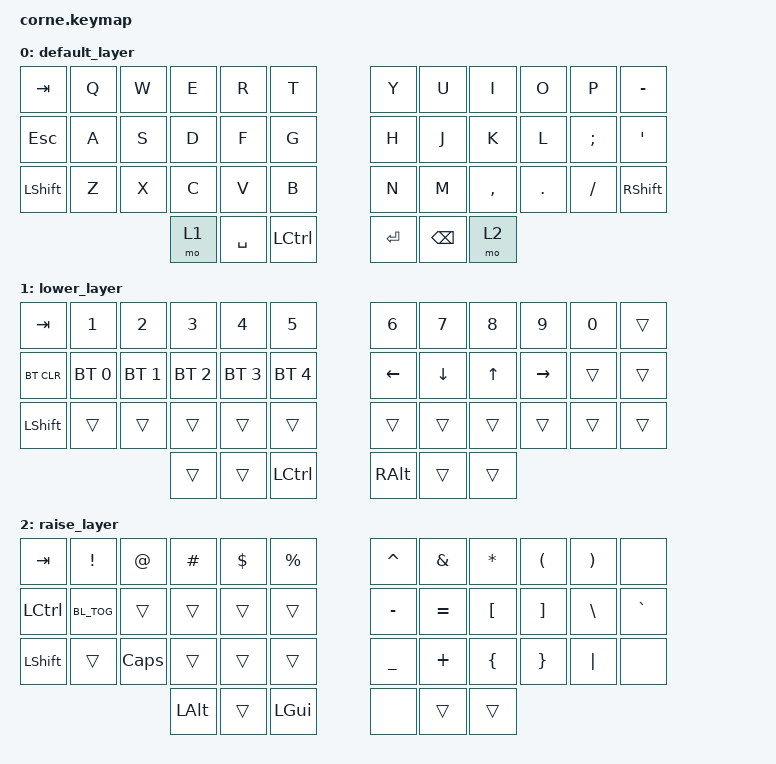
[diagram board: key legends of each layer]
/*
 * Copyright (c) 2020 The ZMK Contributors
 *
 * SPDX-License-Identifier: MIT
 */

#include <behaviors.dtsi>
#include <dt-bindings/zmk/keys.h>
#include <dt-bindings/zmk/bt.h>
#include <dt-bindings/zmk/backlight.h>

/ {
        keymap {
                compatible = "zmk,keymap";

                default_layer {
// -----------------------------------------------------------------------------------------
// |  TAB |  Q  |  W  |  E  |  R  |  T  |   |  Y  |  U   |  I  |  O  |  P  | BSPC |
// | CTRL |  A  |  S  |  D  |  F  |  G  |   |  H  |  J   |  K  |  L  |  ;  |  '   |
// | SHFT |  Z  |  X  |  C  |  V  |  B  |   |  N  |  M   |  ,  |  .  |  /  | ESC  |
//                    | GUI | LWR | SPC |   | ENT | RSE  | ALT |
                        bindings = <
   &kp TAB   &kp Q &kp W &kp E &kp R &kp T   &kp Y &kp U  &kp I     &kp O   &kp P    &kp MINUS
   &kp ESC &kp A &kp S &kp D &kp F &kp G   &kp H &kp J  &kp K     &kp L   &kp SEMI &kp SQT
   &kp LSHFT &kp Z &kp X &kp C &kp V &kp B   &kp N &kp M  &kp COMMA &kp DOT &kp FSLH &kp RSHFT
                  &mo 1 &kp SPACE &kp LCTRL   &kp RET &kp BSPC &mo 2
                        >;
                };
                lower_layer {
// -----------------------------------------------------------------------------------------
// |  TAB |  1  |  2  |  3  |  4  |  5  |   |  6  |  7  |  8  |  9  |  0  | BSPC |
// | BTCLR| BT1 | BT2 | BT3 | BT4 | BT5 |   | LFT | DWN |  UP | RGT |     |      |
// | SHFT |     |     |     |     |     |   |     |     |     |     |     |      |
//                    | GUI |     | SPC |   | ENT |     | ALT |
                        bindings = <
   &kp TAB    &kp N1       &kp N2       &kp N3       &kp N4       &kp N5         &kp N6   &kp N7   &kp N8 &kp N9    &kp N0 &trans
   &bt BT_CLR &bt BT_SEL 0 &bt BT_SEL 1 &bt BT_SEL 2 &bt BT_SEL 3 &bt BT_SEL 4   &kp LEFT &kp DOWN &kp UP &kp RIGHT &trans &trans
   &kp LSHFT  &trans       &trans       &trans       &trans       &trans         &trans   &trans   &trans &trans    &trans &trans
                                    &trans     &trans       &kp LCTRL      &kp RALT  &trans   &trans
                        >;
                };

                raise_layer {
// -----------------------------------------------------------------------------------------
// |  ~ |  !  |  @  |  #  |  $  |  %  |   |  ^  |  &  |  *  |  (  |  )  | BSPC |
// | CTRL |     |     |     |     |     |   |  -  |  =  |  [  |  ]  |  \  |  `   |
// | SHFT |     |     |     |     |     |   |  _  |  +  |  {  |  }  | "|" |  ~   |
//                    | GUI |     | SPC |   | ENT |     | ALT |
                        bindings = <
   &kp  TAB  &kp EXCL &kp AT &kp HASH &kp DLLR &kp PRCNT   &kp CARET &kp AMPS  &kp ASTRK &kp LPAR &kp RPAR &none
   &kp LCTRL &kp BL_TOG   &trans &trans   &trans   &trans      &kp MINUS &kp EQUAL &kp LBKT  &kp RBKT &kp BSLH &kp GRAVE
   &kp LSHFT &trans   &kp CAPSLOCK &trans   &trans   &trans      &kp UNDER &kp PLUS  &kp LBRC  &kp RBRC &kp PIPE &none	
                             &kp LALT &trans   &kp LGUI   &none   &trans    &trans
                        >;
                };
        };
};
